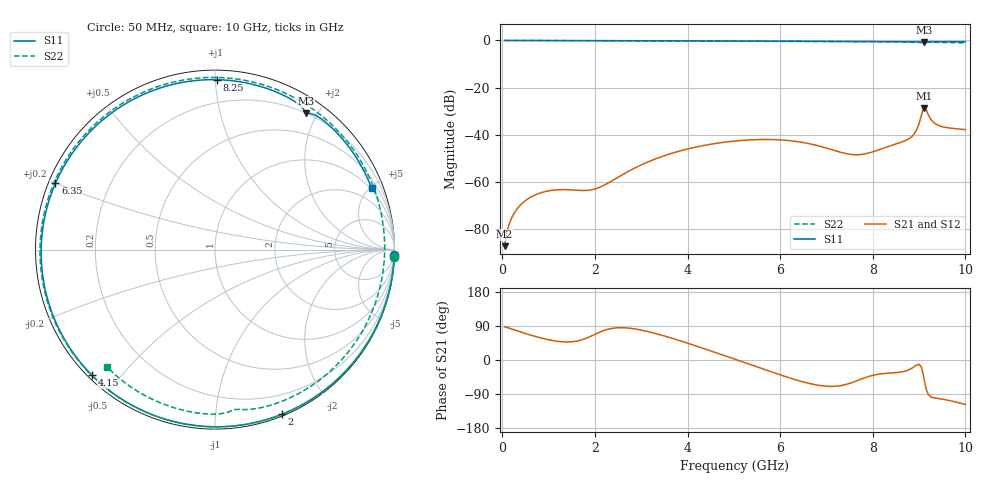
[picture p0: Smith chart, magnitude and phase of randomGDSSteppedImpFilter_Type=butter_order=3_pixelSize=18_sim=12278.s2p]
! freq	dB(S11)	phase(S11)	dB(S12)	phase(S12)
!  dB(S21)	phase(S21)	dB(S22)	phase(S22)
!S-par simulation data
#  GHz  S  DB  R 50
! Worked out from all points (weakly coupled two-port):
!   200 points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, 50 MHz to 10 GHz, reference 50 ohm
!   highest |S21| = -28.62 dB at 9.1 GHz (marker M1); lowest = -87.3 dB at 50 MHz (marker M2)
!   lowest |S11| = -0.8 dB at 9.1 GHz (marker M3), VSWR 21.72, Z = 10.3 + j92.5 ohm
!   |S11| at or under -10 dB: nowhere
!   |S22| runs from -1.0 to 0.0 dB; largest |S21 - S12| = 0
!   S11 on the Smith chart (normalised r, x): 50 MHz: 1, -65; 2 GHz: 0.02, -1.49; 4.15 GHz: 0.01, -0.42; 6.35 GHz: 0.02, +0.20; 8.25 GHz: 0.06, +1.01; 10 GHz: 0.93, +5.15
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0.05  -0.00 -1.8  -87.33 88.0  -87.33 88.0  -0.00 -2.5
0.1  -0.01 -3.5  -81.34 86.0  -81.34 86.0  -0.01 -4.9
0.35  -0.02 -12.2  -70.76 75.7  -70.76 75.7  -0.02 -16.9
0.65  -0.03 -22.6  -66.14 64.3  -66.14 64.3  -0.03 -31.2
1.2  -0.05 -41.4  -63.37 49.3  -63.37 49.3  -0.07 -56.9
1.75  -0.08 -59.7  -63.69 54.5  -63.69 54.5  -0.10 -81.5
2  -0.09 -67.9  -63.06 67.8  -63.06 67.8  -0.11 -92.4
2.65  -0.11 -88.6  -56.35 84.9  -56.35 84.9  -0.14 -119.8
3.4  -0.14 -111.8  -49.61 66.9  -49.61 66.9  -0.18 -150.7
4.15  -0.18 -134.4  -45.40 38.5  -45.40 38.5  -0.22 178.2
5.05  -0.24 -161.6  -42.64 0.9  -42.64 0.9  -0.29 138.2
5.75  -0.29 176.8  -42.04 -28.8  -42.04 -28.8  -0.34 103.7
6.35  -0.33 157.4  -42.88 -52.7  -42.88 -52.7  -0.39 71.4
6.7  -0.36 145.7  -44.13 -63.8  -44.13 -63.8  -0.41 51.5
7.5  -0.42 117.5  -48.32 -61.7  -48.32 -61.7  -0.48 4.8
8.25  -0.48 89.2  -45.60 -35.6  -45.60 -35.6  -0.57 -38.1
8.35  -0.48 85.4  -44.92 -34.7  -44.92 -34.7  -0.59 -43.7
8.85  -0.53 65.5  -40.68 -21.1  -40.68 -21.1  -0.72 -71.1
8.95  -0.57 61.4  -37.84 -13.0  -37.84 -13.0  -0.79 -76.5
9.1  -0.80 56.3  -28.62 -44.4  -28.62 -44.4  -0.94 -83.3
9.4  -0.53 44.7  -35.89 -101.4  -35.89 -101.4  -0.79 -99.8
10  -0.57 21.3  -37.82 -117.4  -37.82 -117.4  -1.03 -132.7
